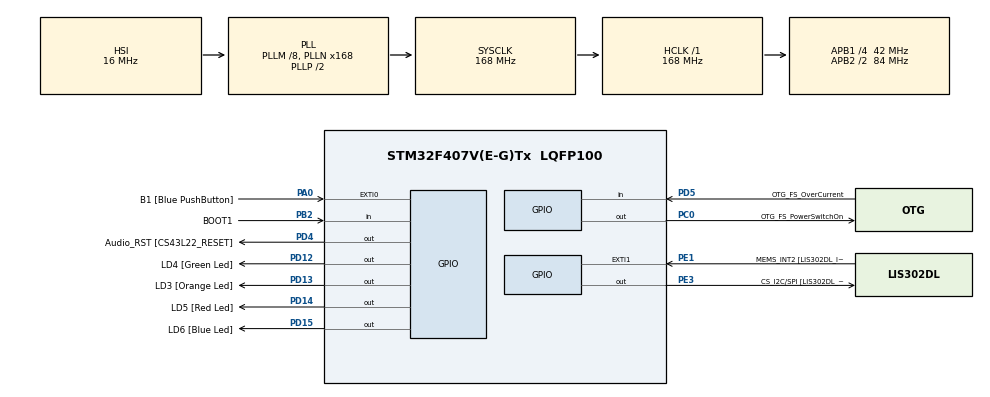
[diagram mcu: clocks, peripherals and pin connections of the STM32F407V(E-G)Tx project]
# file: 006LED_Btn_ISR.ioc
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Mcu.Family=STM32F4
Mcu.Name=STM32F407V(E-G)Tx
Mcu.Package=LQFP100
NVIC.EXTI0_IRQn=true\:6\:0\:true\:false\:true\:true\:true\:true
NVIC.PriorityGroup=NVIC_PRIORITYGROUP_4
NVIC.TIM6_DAC_IRQn=true\:0\:0\:false\:false\:true\:false\:true\:true
NVIC.TimeBase=TIM6_DAC_IRQn
NVIC.TimeBaseIP=TIM6
PA0-WKUP.GPIO_Label=B1 [Blue PushButton]
PA0-WKUP.GPIO_ModeDefaultEXTI=GPIO_MODE_IT_FALLING
PA0-WKUP.Signal=GPXTI0
PA10.GPIO_Label=OTG_FS_ID
PA10.GPIO_Mode=GPIO_MODE_AF_PP
PA10.GPIO_PuPd=GPIO_NOPULL
PA10.GPIO_Speed=GPIO_SPEED_FREQ_LOW
PA10.Signal=USB_OTG_FS_ID
PA11.GPIO_Label=OTG_FS_DM
PA11.GPIO_Mode=GPIO_MODE_AF_PP
PA11.GPIO_PuPd=GPIO_NOPULL
PA11.GPIO_Speed=GPIO_SPEED_FREQ_LOW
PA11.Signal=USB_OTG_FS_DM
PA12.GPIO_Label=OTG_FS_DP
PA12.GPIO_Mode=GPIO_MODE_AF_PP
PA12.GPIO_PuPd=GPIO_NOPULL
PA12.GPIO_Speed=GPIO_SPEED_FREQ_LOW
PA12.Signal=USB_OTG_FS_DP
PA13.GPIO_Label=SWDIO
PA13.Signal=SYS_JTMS-SWDIO
PA14.GPIO_Label=SWCLK
PA14.Signal=SYS_JTCK-SWCLK
PA4.GPIO_Label=I2S3_WS [CS43L22_LRCK]
PA4.GPIO_Mode=GPIO_MODE_AF_PP
PA4.GPIO_PuPd=GPIO_NOPULL
PA4.GPIO_Speed=GPIO_SPEED_FREQ_LOW
PA4.Signal=I2S3_WS
PA5.GPIO_Label=SPI1_SCK [LIS302DL_SCL/SPC]
PA5.GPIO_Mode=GPIO_MODE_AF_PP
PA5.GPIO_PuPd=GPIO_NOPULL
PA5.GPIO_Speed=GPIO_SPEED_FREQ_LOW
PA5.Signal=SPI1_SCK
PA6.GPIO_Label=SPI1_MISO [LIS302DL_SDO]
PA6.GPIO_Mode=GPIO_MODE_AF_PP
PA6.GPIO_PuPd=GPIO_NOPULL
PA6.GPIO_Speed=GPIO_SPEED_FREQ_LOW
PA6.Signal=SPI1_MISO
PA7.GPIO_Label=SPI1_MOSI [LIS302DL_SDA/SDI/SDO]
PA7.GPIO_Mode=GPIO_MODE_AF_PP
PA7.GPIO_PuPd=GPIO_NOPULL
PA7.GPIO_Speed=GPIO_SPEED_FREQ_LOW
PA7.Signal=SPI1_MOSI
PA9.GPIO_Label=VBUS_FS
PA9.GPIO_Mode=GPIO_MODE_INPUT
PA9.GPIO_PuPd=GPIO_NOPULL
PA9.Signal=USB_OTG_FS_VBUS
PB10.GPIO_Label=CLK_IN [MP45DT02_CLK]
PB10.GPIO_Mode=GPIO_MODE_AF_PP
PB10.GPIO_PuPd=GPIO_NOPULL
PB10.GPIO_Speed=GPIO_SPEED_FREQ_LOW
PB10.Signal=I2S2_CK
PB2.GPIO_Label=BOOT1
PB2.GPIO_Mode=GPIO_MODE_INPUT
PB2.GPIO_PuPd=GPIO_NOPULL
PB2.Signal=GPIO_Input
PB3.GPIO_Label=SWO
PB3.Signal=SYS_JTDO-SWO
PB6.GPIO_Label=Audio_SCL [CS43L22_SCL]
PB6.GPIO_Mode=GPIO_MODE_AF_OD
PB6.GPIO_PuPd=GPIO_NOPULL
PB6.GPIO_Speed=GPIO_SPEED_FREQ_LOW
PB6.Signal=I2C1_SCL
PB9.GPIO_Label=Audio_SDA [CS43L22_SDA]
PB9.GPIO_Mode=GPIO_MODE_AF_OD
PB9.GPIO_PuPd=GPIO_NOPULL
PB9.GPIO_Speed=GPIO_SPEED_FREQ_LOW
PB9.Signal=I2C1_SDA
PC0.GPIO_Label=OTG_FS_PowerSwitchOn
PC0.GPIO_PuPd=GPIO_NOPULL
PC0.GPIO_Speed=GPIO_SPEED_FREQ_LOW
PC0.PinState=GPIO_PIN_SET
PC0.Signal=GPIO_Output
PC10.GPIO_Label=I2S3_SCK [CS43L22_SCLK]
PC10.GPIO_Mode=GPIO_MODE_AF_PP
PC10.GPIO_PuPd=GPIO_NOPULL
PC10.GPIO_Speed=GPIO_SPEED_FREQ_LOW
PC10.Signal=I2S3_CK
PC12.GPIO_Label=I2S3_SD [CS43L22_SDIN]
PC12.GPIO_Mode=GPIO_MODE_AF_PP
PC12.GPIO_PuPd=GPIO_NOPULL
PC12.GPIO_Speed=GPIO_SPEED_FREQ_LOW
PC12.Signal=I2S3_SD
PC14-OSC32_IN.GPIO_Label=PC14-OSC32_IN
PC14-OSC32_IN.Signal=RCC_OSC32_IN
PC15-OSC32_OUT.GPIO_Label=PC15-OSC32_OUT
PC15-OSC32_OUT.Signal=RCC_OSC32_OUT
PC3.GPIO_Label=PDM_OUT [MP45DT02_DOUT]
PC3.GPIO_Mode=GPIO_MODE_AF_PP
PC3.GPIO_PuPd=GPIO_NOPULL
PC3.GPIO_Speed=GPIO_SPEED_FREQ_LOW
PC3.Signal=I2S2_SD
PC7.GPIO_Label=I2S3_MCK [CS43L22_MCLK]
PC7.GPIO_Mode=GPIO_MODE_AF_PP
PC7.GPIO_PuPd=GPIO_NOPULL
PC7.GPIO_Speed=GPIO_SPEED_FREQ_LOW
PC7.Signal=I2S3_MCK
PD12.GPIO_Label=LD4 [Green Led]
PD12.GPIO_PuPd=GPIO_NOPULL
PD12.GPIO_Speed=GPIO_SPEED_FREQ_LOW
PD12.Signal=GPIO_Output
PD13.GPIO_Label=LD3 [Orange Led]
PD13.GPIO_PuPd=GPIO_NOPULL
PD13.GPIO_Speed=GPIO_SPEED_FREQ_LOW
PD13.Signal=GPIO_Output
PD14.GPIO_Label=LD5 [Red Led]
PD14.GPIO_PuPd=GPIO_NOPULL
PD14.GPIO_Speed=GPIO_SPEED_FREQ_LOW
PD14.Signal=GPIO_Output
PD15.GPIO_Label=LD6 [Blue Led]
PD15.GPIO_PuPd=GPIO_NOPULL
PD15.GPIO_Speed=GPIO_SPEED_FREQ_LOW
PD15.Signal=GPIO_Output
PD4.GPIO_Label=Audio_RST [CS43L22_RESET]
PD4.GPIO_PuPd=GPIO_NOPULL
PD4.GPIO_Speed=GPIO_SPEED_FREQ_LOW
PD4.Signal=GPIO_Output
PD5.GPIO_Label=OTG_FS_OverCurrent
PD5.GPIO_Mode=GPIO_MODE_INPUT
PD5.GPIO_PuPd=GPIO_NOPULL
PD5.Signal=GPIO_Input
PE1.GPIO_Label=MEMS_INT2 [LIS302DL_INT2]
PE1.GPIO_ModeDefaultEXTI=GPIO_MODE_EVT_RISING
PE1.GPIO_PuPd=GPIO_NOPULL
PE1.Signal=GPXTI1
PE3.GPIO_Label=CS_I2C/SPI [LIS302DL_CS_I2C/SPI]
PE3.GPIO_PuPd=GPIO_NOPULL
PE3.GPIO_Speed=GPIO_SPEED_FREQ_LOW
PE3.Signal=GPIO_Output
PH0-OSC_IN.GPIO_Label=PH0-OSC_IN
PH0-OSC_IN.Signal=RCC_OSC_IN
PH1-OSC_OUT.GPIO_Label=PH1-OSC_OUT
PH1-OSC_OUT.Signal=RCC_OSC_OUT
ProjectManager.HeapSize=0x200
ProjectManager.StackSize=0x400
ProjectManager.TargetToolchain=STM32CubeIDE
RCC.48MHZClocksFreq_Value=48000000
RCC.AHBFreq_Value=168000000
RCC.APB1CLKDivider=RCC_HCLK_DIV4
RCC.APB1Freq_Value=42000000
RCC.APB1TimFreq_Value=84000000
RCC.APB2CLKDivider=RCC_HCLK_DIV2
RCC.APB2Freq_Value=84000000
RCC.APB2TimFreq_Value=168000000
RCC.CortexFreq_Value=168000000
RCC.HCLKFreq_Value=168000000
RCC.HSE_VALUE=8000000
RCC.HSI_VALUE=16000000
RCC.LSE_VALUE=32768
RCC.PLLM=8
RCC.PLLN=168
RCC.PLLQ=7
RCC.SYSCLKFreq_VALUE=168000000
RCC.SYSCLKSource=RCC_SYSCLKSOURCE_PLLCLK
RCC.VCOOutputFreq_Value=336000000
VP_SYS_VS_tim6.Mode=TIM6
board=STM32F407G-DISC1

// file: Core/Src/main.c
/* USER CODE BEGIN Header */
/**
  ******************************************************************************
  * @file           : main.c
  * @brief          : Main program body
  ******************************************************************************
  * @attention
  *
  * <h2><center>&copy; Copyright (c) 2021 STMicroelectronics.
  * All rights reserved.</center></h2>
  *
  * This software component is licensed by ST under BSD 3-Clause license,
  * the "License"; You may not use this file except in compliance with the
  * License. You may obtain a copy of the License at:
  *                        opensource.org/licenses/BSD-3-Clause
  *
  ******************************************************************************
  */
/* USER CODE END Header */
#include "main.h"

/* USER CODE BEGIN Includes */
#include <stdio.h>
#include "FreeRTOS.h"
#include "task.h"

/* USER CODE END Includes */

/* USER CODE BEGIN PV */

#define DWT_CTRL    (*(volatile uint32_t*)0xE0001000)

/* USER CODE END PV */

void SystemClock_Config(void);
static void MX_GPIO_Init(void);
/* USER CODE BEGIN PFP */

static void led_green_handler(void* parameters);
static void led_red_handler(void* parameters);
static void led_orange_handler(void* parameters);

extern void SEGGER_UART_init(uint32_t);

TaskHandle_t ledg_task_handle;
TaskHandle_t ledo_task_handle;
TaskHandle_t ledr_task_handle;
TaskHandle_t btn_task_handle;

TaskHandle_t volatile next_task_handle = NULL;

/* USER CODE END PFP */

int main(void)
{
  /* USER CODE BEGIN 1 */

	BaseType_t status;

  /* USER CODE END 1 */

  /* MCU Configuration--------------------------------------------------------*/

  /* Reset of all peripherals, Initializes the Flash interface and the Systick. */
  HAL_Init();

  /* Configure the system clock */
  SystemClock_Config();

  /* Initialize all configured peripherals */
  MX_GPIO_Init();
  /* USER CODE BEGIN 2 */

  //Enable the CYCCNT counter.
  DWT_CTRL |= ( 1 << 0);

  SEGGER_UART_init(250000);

  SEGGER_SYSVIEW_Conf();

 // SEGGER_SYSVIEW_Start();

  status = xTaskCreate(led_green_handler, "LED_green_task", 200, NULL, 3, &ledg_task_handle);

  configASSERT(status == pdPASS);

  next_task_handle = ledg_task_handle;

  status = xTaskCreate(led_red_handler, "LED_red_task", 200, NULL, 2, &ledr_task_handle);

  configASSERT(status == pdPASS);

  status = xTaskCreate(led_orange_handler, "LED_orange_task", 200, NULL, 1, &ledo_task_handle);

  configASSERT(status == pdPASS);

  //start the freeRTOS scheduler
  vTaskStartScheduler();

  //if the control comes here, then the launch of the scheduler has failed due to
  //insufficient memory in heap

  /* USER CODE END 2 */

  /* Infinite loop */
  while (1)
  {

  }
}

void SystemClock_Config(void)
{
  RCC_OscInitTypeDef RCC_OscInitStruct = {0};
  RCC_ClkInitTypeDef RCC_ClkInitStruct = {0};

  /** Configure the main internal regulator output voltage
  */
  __HAL_RCC_PWR_CLK_ENABLE();
  __HAL_PWR_VOLTAGESCALING_CONFIG(PWR_REGULATOR_VOLTAGE_SCALE1);

  /** Initializes the RCC Oscillators according to the specified parameters
  * in the RCC_OscInitTypeDef structure.
  */
  RCC_OscInitStruct.OscillatorType = RCC_OSCILLATORTYPE_HSI;
  RCC_OscInitStruct.HSIState = RCC_HSI_ON;
  RCC_OscInitStruct.HSICalibrationValue = RCC_HSICALIBRATION_DEFAULT;
  RCC_OscInitStruct.PLL.PLLState = RCC_PLL_ON;
  RCC_OscInitStruct.PLL.PLLSource = RCC_PLLSOURCE_HSI;
  RCC_OscInitStruct.PLL.PLLM = 8;
  RCC_OscInitStruct.PLL.PLLN = 168;
  RCC_OscInitStruct.PLL.PLLP = RCC_PLLP_DIV2;
  RCC_OscInitStruct.PLL.PLLQ = 7;
  if (HAL_RCC_OscConfig(&RCC_OscInitStruct) != HAL_OK)
  {
    Error_Handler();
  }

  /** Initializes the CPU, AHB and APB buses clocks
  */
  RCC_ClkInitStruct.ClockType = RCC_CLOCKTYPE_HCLK|RCC_CLOCKTYPE_SYSCLK
                              |RCC_CLOCKTYPE_PCLK1|RCC_CLOCKTYPE_PCLK2;
  RCC_ClkInitStruct.SYSCLKSource = RCC_SYSCLKSOURCE_PLLCLK;
  RCC_ClkInitStruct.AHBCLKDivider = RCC_SYSCLK_DIV1;
  RCC_ClkInitStruct.APB1CLKDivider = RCC_HCLK_DIV4;
  RCC_ClkInitStruct.APB2CLKDivider = RCC_HCLK_DIV2;

  if (HAL_RCC_ClockConfig(&RCC_ClkInitStruct, FLASH_LATENCY_5) != HAL_OK)
  {
    Error_Handler();
  }
}

static void MX_GPIO_Init(void)
{
  GPIO_InitTypeDef GPIO_InitStruct = {0};

  /* GPIO Ports Clock Enable */
  __HAL_RCC_GPIOE_CLK_ENABLE();
  __HAL_RCC_GPIOC_CLK_ENABLE();
  __HAL_RCC_GPIOH_CLK_ENABLE();
  __HAL_RCC_GPIOA_CLK_ENABLE();
  __HAL_RCC_GPIOB_CLK_ENABLE();
  __HAL_RCC_GPIOD_CLK_ENABLE();

  /*Configure GPIO pin Output Level */
  HAL_GPIO_WritePin(CS_I2C_SPI_GPIO_Port, CS_I2C_SPI_Pin, GPIO_PIN_RESET);

  /*Configure GPIO pin Output Level */
  HAL_GPIO_WritePin(OTG_FS_PowerSwitchOn_GPIO_Port, OTG_FS_PowerSwitchOn_Pin, GPIO_PIN_SET);

  /*Configure GPIO pin Output Level */
  HAL_GPIO_WritePin(GPIOD, LD4_Pin|LD3_Pin|LD5_Pin|LD6_Pin
                          |Audio_RST_Pin, GPIO_PIN_RESET);

  /*Configure GPIO pin : CS_I2C_SPI_Pin */
  GPIO_InitStruct.Pin = CS_I2C_SPI_Pin;
  GPIO_InitStruct.Mode = GPIO_MODE_OUTPUT_PP;
  GPIO_InitStruct.Pull = GPIO_NOPULL;
  GPIO_InitStruct.Speed = GPIO_SPEED_FREQ_LOW;
  HAL_GPIO_Init(CS_I2C_SPI_GPIO_Port, &GPIO_InitStruct);

  /*Configure GPIO pin : OTG_FS_PowerSwitchOn_Pin */
  GPIO_InitStruct.Pin = OTG_FS_PowerSwitchOn_Pin;
  GPIO_InitStruct.Mode = GPIO_MODE_OUTPUT_PP;
  GPIO_InitStruct.Pull = GPIO_NOPULL;
  GPIO_InitStruct.Speed = GPIO_SPEED_FREQ_LOW;
  HAL_GPIO_Init(OTG_FS_PowerSwitchOn_GPIO_Port, &GPIO_InitStruct);

  /*Configure GPIO pin : PDM_OUT_Pin */
  GPIO_InitStruct.Pin = PDM_OUT_Pin;
  GPIO_InitStruct.Mode = GPIO_MODE_AF_PP;
  GPIO_InitStruct.Pull = GPIO_NOPULL;
  GPIO_InitStruct.Speed = GPIO_SPEED_FREQ_LOW;
  GPIO_InitStruct.Alternate = GPIO_AF5_SPI2;
  HAL_GPIO_Init(PDM_OUT_GPIO_Port, &GPIO_InitStruct);

  /*Configure GPIO pin : B1_Pin */
  GPIO_InitStruct.Pin = B1_Pin;
  GPIO_InitStruct.Mode = GPIO_MODE_IT_FALLING;
  GPIO_InitStruct.Pull = GPIO_NOPULL;
  HAL_GPIO_Init(B1_GPIO_Port, &GPIO_InitStruct);

  /*Configure GPIO pin : I2S3_WS_Pin */
  GPIO_InitStruct.Pin = I2S3_WS_Pin;
  GPIO_InitStruct.Mode = GPIO_MODE_AF_PP;
  GPIO_InitStruct.Pull = GPIO_NOPULL;
  GPIO_InitStruct.Speed = GPIO_SPEED_FREQ_LOW;
  GPIO_InitStruct.Alternate = GPIO_AF6_SPI3;
  HAL_GPIO_Init(I2S3_WS_GPIO_Port, &GPIO_InitStruct);

  /*Configure GPIO pins : SPI1_SCK_Pin SPI1_MISO_Pin SPI1_MOSI_Pin */
  GPIO_InitStruct.Pin = SPI1_SCK_Pin|SPI1_MISO_Pin|SPI1_MOSI_Pin;
  GPIO_InitStruct.Mode = GPIO_MODE_AF_PP;
  GPIO_InitStruct.Pull = GPIO_NOPULL;
  GPIO_InitStruct.Speed = GPIO_SPEED_FREQ_LOW;
  GPIO_InitStruct.Alternate = GPIO_AF5_SPI1;
  HAL_GPIO_Init(GPIOA, &GPIO_InitStruct);

  /*Configure GPIO pin : BOOT1_Pin */
  GPIO_InitStruct.Pin = BOOT1_Pin;
  GPIO_InitStruct.Mode = GPIO_MODE_INPUT;
  GPIO_InitStruct.Pull = GPIO_NOPULL;
  HAL_GPIO_Init(BOOT1_GPIO_Port, &GPIO_InitStruct);

  /*Configure GPIO pin : CLK_IN_Pin */
  GPIO_InitStruct.Pin = CLK_IN_Pin;
  GPIO_InitStruct.Mode = GPIO_MODE_AF_PP;
  GPIO_InitStruct.Pull = GPIO_NOPULL;
  GPIO_InitStruct.Speed = GPIO_SPEED_FREQ_LOW;
  GPIO_InitStruct.Alternate = GPIO_AF5_SPI2;
  HAL_GPIO_Init(CLK_IN_GPIO_Port, &GPIO_InitStruct);

  /*Configure GPIO pins : LD4_Pin LD3_Pin LD5_Pin LD6_Pin
                           Audio_RST_Pin */
  GPIO_InitStruct.Pin = LD4_Pin|LD3_Pin|LD5_Pin|LD6_Pin
                          |Audio_RST_Pin;
  GPIO_InitStruct.Mode = GPIO_MODE_OUTPUT_PP;
  GPIO_InitStruct.Pull = GPIO_NOPULL;
  GPIO_InitStruct.Speed = GPIO_SPEED_FREQ_LOW;
  HAL_GPIO_Init(GPIOD, &GPIO_InitStruct);

  /*Configure GPIO pins : I2S3_MCK_Pin I2S3_SCK_Pin I2S3_SD_Pin */
  GPIO_InitStruct.Pin = I2S3_MCK_Pin|I2S3_SCK_Pin|I2S3_SD_Pin;
  GPIO_InitStruct.Mode = GPIO_MODE_AF_PP;
  GPIO_InitStruct.Pull = GPIO_NOPULL;
  GPIO_InitStruct.Speed = GPIO_SPEED_FREQ_LOW;
  GPIO_InitStruct.Alternate = GPIO_AF6_SPI3;
  HAL_GPIO_Init(GPIOC, &GPIO_InitStruct);

  /*Configure GPIO pin : VBUS_FS_Pin */
  GPIO_InitStruct.Pin = VBUS_FS_Pin;
  GPIO_InitStruct.Mode = GPIO_MODE_INPUT;
  GPIO_InitStruct.Pull = GPIO_NOPULL;
  HAL_GPIO_Init(VBUS_FS_GPIO_Port, &GPIO_InitStruct);

  /*Configure GPIO pins : OTG_FS_ID_Pin OTG_FS_DM_Pin OTG_FS_DP_Pin */
  GPIO_InitStruct.Pin = OTG_FS_ID_Pin|OTG_FS_DM_Pin|OTG_FS_DP_Pin;
  GPIO_InitStruct.Mode = GPIO_MODE_AF_PP;
  GPIO_InitStruct.Pull = GPIO_NOPULL;
  GPIO_InitStruct.Speed = GPIO_SPEED_FREQ_LOW;
  GPIO_InitStruct.Alternate = GPIO_AF10_OTG_FS;
  HAL_GPIO_Init(GPIOA, &GPIO_InitStruct);

  /*Configure GPIO pin : OTG_FS_OverCurrent_Pin */
  GPIO_InitStruct.Pin = OTG_FS_OverCurrent_Pin;
  GPIO_InitStruct.Mode = GPIO_MODE_INPUT;
  GPIO_InitStruct.Pull = GPIO_NOPULL;
  HAL_GPIO_Init(OTG_FS_OverCurrent_GPIO_Port, &GPIO_InitStruct);

  /*Configure GPIO pins : Audio_SCL_Pin Audio_SDA_Pin */
  GPIO_InitStruct.Pin = Audio_SCL_Pin|Audio_SDA_Pin;
  GPIO_InitStruct.Mode = GPIO_MODE_AF_OD;
  GPIO_InitStruct.Pull = GPIO_NOPULL;
  GPIO_InitStruct.Speed = GPIO_SPEED_FREQ_LOW;
  GPIO_InitStruct.Alternate = GPIO_AF4_I2C1;
  HAL_GPIO_Init(GPIOB, &GPIO_InitStruct);

  /*Configure GPIO pin : MEMS_INT2_Pin */
  GPIO_InitStruct.Pin = MEMS_INT2_Pin;
  GPIO_InitStruct.Mode = GPIO_MODE_EVT_RISING;
  GPIO_InitStruct.Pull = GPIO_NOPULL;
  HAL_GPIO_Init(MEMS_INT2_GPIO_Port, &GPIO_InitStruct);

  /* EXTI interrupt init*/
  HAL_NVIC_SetPriority(EXTI0_IRQn, 6, 0);
  HAL_NVIC_EnableIRQ(EXTI0_IRQn);

}

/* USER CODE BEGIN 4 */

void button_interrupt_handler(void)
{
	BaseType_t pxHigherPriorityTaskWoken;
	pxHigherPriorityTaskWoken = pdFALSE;

	traceISR_ENTER();
	xTaskNotifyFromISR(next_task_handle, 0, eNoAction, &pxHigherPriorityTaskWoken);

	/* once the ISR exits, the below macro makes higher priority task which got unblocked to resume on the CPU*/
	portYIELD_FROM_ISR(pxHigherPriorityTaskWoken);
	traceISR_EXIT();
}

static void led_green_handler(void* parameters)
{
	BaseType_t status;
	while(1)
	{
		SEGGER_SYSVIEW_PrintfTarget("Toggling green LED!!");
		HAL_GPIO_TogglePin(GPIOD, LED_GREEN_PIN);
		status = xTaskNotifyWait(0,0,NULL, pdMS_TO_TICKS(1000));
		if (status == pdTRUE)
		{
			portENTER_CRITICAL();
			next_task_handle = ledo_task_handle;
			HAL_GPIO_WritePin(GPIOD, LED_GREEN_PIN, GPIO_PIN_SET);
			SEGGER_SYSVIEW_PrintfTarget("Delete green task!!");
			portEXIT_CRITICAL();
			vTaskDelete(NULL);
		}
	}

}

static void led_orange_handler(void* parameters)
{
	BaseType_t status;
	while(1)
	{
		SEGGER_SYSVIEW_PrintfTarget("Toggling ORANGE LED!!");
		HAL_GPIO_TogglePin(GPIOD, LED_ORANGE_PIN);
		status = xTaskNotifyWait(0,0,NULL, pdMS_TO_TICKS(800));
		if (status == pdTRUE)
		{
			portENTER_CRITICAL();
			next_task_handle = ledr_task_handle;
			HAL_GPIO_WritePin(GPIOD, LED_ORANGE_PIN, GPIO_PIN_SET);
			SEGGER_SYSVIEW_PrintfTarget("Delete orange task!!");
			portEXIT_CRITICAL();
			vTaskDelete(NULL);
		}
	}
}

static void led_red_handler(void* parameters)
{
	BaseType_t status;
	while(1)
	{
		SEGGER_SYSVIEW_PrintfTarget("Toggling RED LED!!");
		HAL_GPIO_TogglePin(GPIOD, LED_RED_PIN);
		status = xTaskNotifyWait(0,0,NULL, pdMS_TO_TICKS(400));
		if (status == pdTRUE)
		{
			portENTER_CRITICAL();
			next_task_handle = NULL;
			HAL_GPIO_WritePin(GPIOD, LED_RED_PIN, GPIO_PIN_SET);
			SEGGER_SYSVIEW_PrintfTarget("Delete red task and button task!!");
			portEXIT_CRITICAL();
			vTaskDelete(NULL);
		}
	}
}

/* USER CODE END 4 */

void HAL_TIM_PeriodElapsedCallback(TIM_HandleTypeDef *htim)
{
  if (htim->Instance == TIM6) {
    HAL_IncTick();
  }
}

void Error_Handler(void)
{
}
